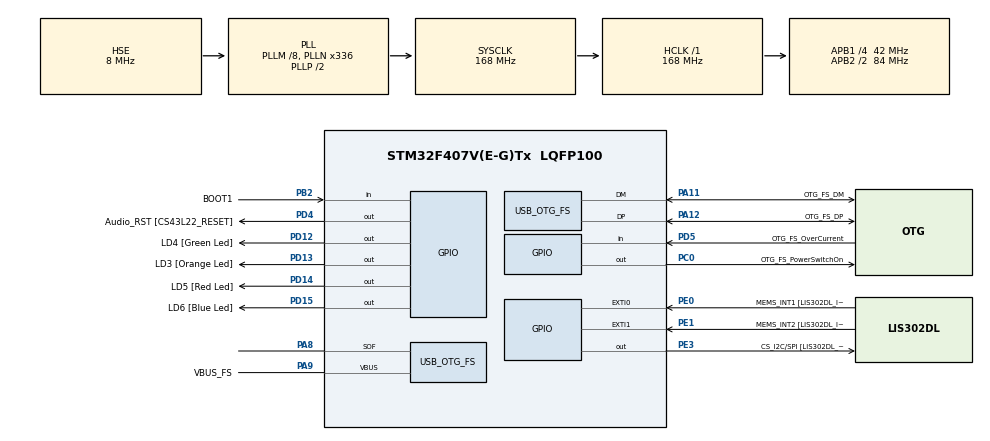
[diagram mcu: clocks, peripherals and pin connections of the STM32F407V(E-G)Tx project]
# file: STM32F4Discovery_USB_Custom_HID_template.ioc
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Mcu.Family=STM32F4
Mcu.Name=STM32F407V(E-G)Tx
Mcu.Package=LQFP100
NVIC.OTG_FS_IRQn=true\:0\:0\:false
NVIC.PriorityGroup=NVIC_PRIORITYGROUP_0
PA10.GPIO_Label=OTG_FS_ID
PA10.GPIO_Mode=GPIO_MODE_AF_PP
PA10.GPIO_PuPd=GPIO_NOPULL
PA10.GPIO_Speed=GPIO_SPEED_LOW
PA10.Signal=USB_OTG_FS_ID
PA11.GPIO_Label=OTG_FS_DM
PA11.GPIO_Mode=GPIO_MODE_AF_PP
PA11.GPIO_PuPd=GPIO_NOPULL
PA11.GPIO_Speed=GPIO_SPEED_LOW
PA11.Mode=Device_Only
PA11.Signal=USB_OTG_FS_DM
PA12.GPIO_Label=OTG_FS_DP
PA12.GPIO_Mode=GPIO_MODE_AF_PP
PA12.GPIO_PuPd=GPIO_NOPULL
PA12.GPIO_Speed=GPIO_SPEED_LOW
PA12.Mode=Device_Only
PA12.Signal=USB_OTG_FS_DP
PA13.GPIO_Label=SWDIO
PA13.Mode=Trace-Asynchronous_SW
PA13.Signal=SYS_JTMS-SWDIO
PA14.GPIO_Label=SWCLK
PA14.Mode=Trace-Asynchronous_SW
PA14.Signal=SYS_JTCK-SWCLK
PA4.GPIO_Label=I2S3_WS [CS43L22_LRCK]
PA4.GPIO_Mode=GPIO_MODE_AF_PP
PA4.GPIO_PuPd=GPIO_NOPULL
PA4.GPIO_Speed=GPIO_SPEED_LOW
PA4.Signal=I2S3_WS
PA5.GPIO_Label=SPI1_SCK [LIS302DL_SCL/SPC]
PA5.GPIO_Mode=GPIO_MODE_AF_PP
PA5.GPIO_PuPd=GPIO_NOPULL
PA5.GPIO_Speed=GPIO_SPEED_LOW
PA5.Signal=SPI1_SCK
PA6.GPIO_Label=SPI1_MISO [LIS302DL_SDO]
PA6.GPIO_Mode=GPIO_MODE_AF_PP
PA6.GPIO_PuPd=GPIO_NOPULL
PA6.GPIO_Speed=GPIO_SPEED_LOW
PA6.Signal=SPI1_MISO
PA7.GPIO_Label=SPI1_MOSI [LIS302DL_SDA/SDI/SDO]
PA7.GPIO_Mode=GPIO_MODE_AF_PP
PA7.GPIO_PuPd=GPIO_NOPULL
PA7.GPIO_Speed=GPIO_SPEED_LOW
PA7.Signal=SPI1_MOSI
PA8.Mode=Activate_SOF_FS
PA8.Signal=USB_OTG_FS_SOF
PA9.GPIO_Label=VBUS_FS
PA9.GPIO_Mode=GPIO_MODE_INPUT
PA9.GPIO_PuPd=GPIO_NOPULL
PA9.Mode=Activate_VBUS
PA9.Signal=USB_OTG_FS_VBUS
PB10.GPIO_Label=CLK_IN [MP45DT02_CLK]
PB10.GPIO_Mode=GPIO_MODE_AF_PP
PB10.GPIO_PuPd=GPIO_NOPULL
PB10.GPIO_Speed=GPIO_SPEED_LOW
PB10.Signal=I2S2_CK
PB2.GPIO_Label=BOOT1
PB2.GPIO_Mode=GPIO_MODE_INPUT
PB2.GPIO_PuPd=GPIO_NOPULL
PB2.Signal=GPIO_Input
PB3.GPIO_Label=SWO
PB3.Mode=Trace-Asynchronous_SW
PB3.Signal=SYS_JTDO-SWO
PB6.GPIO_Label=Audio_SCL [CS43L22_SCL]
PB6.GPIO_Mode=GPIO_MODE_AF_OD
PB6.GPIO_PuPd=GPIO_NOPULL
PB6.GPIO_Speed=GPIO_SPEED_LOW
PB6.Signal=I2C1_SCL
PB9.GPIO_Label=Audio_SDA [CS43L22_SDA]
PB9.GPIO_Mode=GPIO_MODE_AF_OD
PB9.GPIO_PuPd=GPIO_NOPULL
PB9.GPIO_Speed=GPIO_SPEED_LOW
PB9.Signal=I2C1_SDA
PC0.GPIO_Label=OTG_FS_PowerSwitchOn
PC0.GPIO_PuPd=GPIO_NOPULL
PC0.GPIO_Speed=GPIO_SPEED_LOW
PC0.Signal=GPIO_Output
PC10.GPIO_Label=I2S3_SCK [CS43L22_SCLK]
PC10.GPIO_Mode=GPIO_MODE_AF_PP
PC10.GPIO_PuPd=GPIO_NOPULL
PC10.GPIO_Speed=GPIO_SPEED_LOW
PC10.Signal=I2S3_CK
PC12.GPIO_Label=I2S3_SD [CS43L22_SDIN]
PC12.GPIO_Mode=GPIO_MODE_AF_PP
PC12.GPIO_PuPd=GPIO_NOPULL
PC12.GPIO_Speed=GPIO_SPEED_LOW
PC12.Signal=I2S3_SD
PC14-OSC32_IN.GPIO_Label=PC14-OSC32_IN
PC14-OSC32_IN.Signal=RCC_OSC32_IN
PC15-OSC32_OUT.GPIO_Label=PC15-OSC32_OUT
PC15-OSC32_OUT.Signal=RCC_OSC32_OUT
PC3.GPIO_Label=PDM_OUT [MP45DT02_DOUT]
PC3.GPIO_Mode=GPIO_MODE_AF_PP
PC3.GPIO_PuPd=GPIO_NOPULL
PC3.GPIO_Speed=GPIO_SPEED_LOW
PC3.Signal=I2S2_SD
PC7.GPIO_Label=I2S3_MCK [CS43L22_MCLK]
PC7.GPIO_Mode=GPIO_MODE_AF_PP
PC7.GPIO_PuPd=GPIO_NOPULL
PC7.GPIO_Speed=GPIO_SPEED_LOW
PC7.Signal=I2S3_MCK
PD12.GPIO_Label=LD4 [Green Led]
PD12.GPIO_PuPd=GPIO_NOPULL
PD12.GPIO_Speed=GPIO_SPEED_LOW
PD12.Signal=GPIO_Output
PD13.GPIO_Label=LD3 [Orange Led]
PD13.GPIO_PuPd=GPIO_NOPULL
PD13.GPIO_Speed=GPIO_SPEED_LOW
PD13.Signal=GPIO_Output
PD14.GPIO_Label=LD5 [Red Led]
PD14.GPIO_PuPd=GPIO_NOPULL
PD14.GPIO_Speed=GPIO_SPEED_LOW
PD14.Signal=GPIO_Output
PD15.GPIO_Label=LD6 [Blue Led]
PD15.GPIO_PuPd=GPIO_NOPULL
PD15.GPIO_Speed=GPIO_SPEED_LOW
PD15.Signal=GPIO_Output
PD4.GPIO_Label=Audio_RST [CS43L22_RESET]
PD4.GPIO_PuPd=GPIO_NOPULL
PD4.GPIO_Speed=GPIO_SPEED_LOW
PD4.Signal=GPIO_Output
PD5.GPIO_Label=OTG_FS_OverCurrent
PD5.GPIO_Mode=GPIO_MODE_INPUT
PD5.GPIO_PuPd=GPIO_NOPULL
PD5.Signal=GPIO_Input
PE0.GPIO_Label=MEMS_INT1 [LIS302DL_INT1]
PE0.Signal=GPXTI0
PE1.GPIO_Label=MEMS_INT2 [LIS302DL_INT2]
PE1.GPIO_ModeDefaultEXTI=GPIO_MODE_EVT_RISING
PE1.GPIO_PuPd=GPIO_NOPULL
PE1.Signal=GPXTI1
PE3.GPIO_Label=CS_I2C/SPI [LIS302DL_CS_I2C/SPI]
PE3.GPIO_PuPd=GPIO_NOPULL
PE3.GPIO_Speed=GPIO_SPEED_LOW
PE3.Signal=GPIO_Output
PH0-OSC_IN.GPIO_Label=PH0-OSC_IN
PH0-OSC_IN.Mode=HSE-External-Oscillator
PH0-OSC_IN.Signal=RCC_OSC_IN
PH1-OSC_OUT.GPIO_Label=PH1-OSC_OUT
PH1-OSC_OUT.Mode=HSE-External-Oscillator
PH1-OSC_OUT.Signal=RCC_OSC_OUT
ProjectManager.HeapSize=0x400
ProjectManager.StackSize=0x200
ProjectManager.TargetToolchain=SW4STM32
RCC.AHBFreq_Value=168000000
RCC.APB1CLKDivider=RCC_HCLK_DIV4
RCC.APB1Freq_Value=42000000
RCC.APB1TimFreq_Value=84000000
RCC.APB2CLKDivider=RCC_HCLK_DIV2
RCC.APB2Freq_Value=84000000
RCC.APB2TimFreq_Value=168000000
RCC.CortexFreq_Value=168000000
RCC.HCLKFreq_Value=168000000
RCC.HSE_VALUE=8000000
RCC.HSI_VALUE=16000000
RCC.LSE_VALUE=32768
RCC.PLLM=8
RCC.PLLN=336
RCC.PLLQ=7
RCC.SYSCLKFreq_VALUE=168000000
RCC.SYSCLKSource=RCC_SYSCLKSOURCE_PLLCLK
RCC.VCOOutputFreq_Value=336000000
USB_DEVICE.CLASS_NAME-CUSTOM_HID_FS=CUSTOMHID
USB_DEVICE.USBD_CUSTOMHID_OUTREPORT_BUF_SIZE-CUSTOM_HID_FS=16
USB_DEVICE.USBD_CUSTOM_HID_REPORT_DESC_SIZE-CUSTOM_HID_FS=16
USB_DEVICE.USBD_HandleTypeDef-CUSTOM_HID_FS=hUsbDeviceFS
USB_DEVICE.VirtualMode-CUSTOM_HID_FS=CustomHid
USB_DEVICE.VirtualModeFS=Custom_Hid_FS
USB_OTG_FS.VirtualMode=Device_Only
VP_USB_DEVICE_VS_USB_DEVICE_CUSTOM_HID_FS.Mode=CUSTOM_HID_FS
board=STM32F407G-DISC1

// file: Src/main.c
/**
  ******************************************************************************
  * File Name          : main.c
  * Description        : Main program body
  ******************************************************************************
  *
  * COPYRIGHT(c) 2016 STMicroelectronics
  *
  * Redistribution and use in source and binary forms, with or without modification,
  * are permitted provided that the following conditions are met:
  *   1. Redistributions of source code must retain the above copyright notice,
  *      this list of conditions and the following disclaimer.
  *   2. Redistributions in binary form must reproduce the above copyright notice,
  *      this list of conditions and the following disclaimer in the documentation
  *      and/or other materials provided with the distribution.
  *   3. Neither the name of STMicroelectronics nor the names of its contributors
  *      may be used to endorse or promote products derived from this software
  *      without specific prior written permission.
  *
  * THIS SOFTWARE IS PROVIDED BY THE COPYRIGHT HOLDERS AND CONTRIBUTORS "AS IS"
  * AND ANY EXPRESS OR IMPLIED WARRANTIES, INCLUDING, BUT NOT LIMITED TO, THE
  * IMPLIED WARRANTIES OF MERCHANTABILITY AND FITNESS FOR A PARTICULAR PURPOSE ARE
  * DISCLAIMED. IN NO EVENT SHALL THE COPYRIGHT HOLDER OR CONTRIBUTORS BE LIABLE
  * FOR ANY DIRECT, INDIRECT, INCIDENTAL, SPECIAL, EXEMPLARY, OR CONSEQUENTIAL
  * DAMAGES (INCLUDING, BUT NOT LIMITED TO, PROCUREMENT OF SUBSTITUTE GOODS OR
  * SERVICES; LOSS OF USE, DATA, OR PROFITS; OR BUSINESS INTERRUPTION) HOWEVER
  * CAUSED AND ON ANY THEORY OF LIABILITY, WHETHER IN CONTRACT, STRICT LIABILITY,
  * OR TORT (INCLUDING NEGLIGENCE OR OTHERWISE) ARISING IN ANY WAY OUT OF THE USE
  * OF THIS SOFTWARE, EVEN IF ADVISED OF THE POSSIBILITY OF SUCH DAMAGE.
  *
  ******************************************************************************
  */
#include "stm32f4xx_hal.h"
#include "usb_device.h"
#include "gpio.h"

/* USER CODE BEGIN Includes */
#include "usbd_custom_hid_if.h"
/* USER CODE END Includes */

/* USER CODE BEGIN PV */
/* Private variables ---------------------------------------------------------*/

/* USER CODE END PV */

void SystemClock_Config(void);

/* USER CODE BEGIN PFP */
/* Private function prototypes -----------------------------------------------*/

/* USER CODE END PFP */

int main(void)
{

  /* MCU Configuration----------------------------------------------------------*/

  /* Reset of all peripherals, Initializes the Flash interface and the Systick. */
  HAL_Init();

  /* Configure the system clock */
  SystemClock_Config();

  /* Initialize all configured peripherals */
  MX_GPIO_Init();
  MX_USB_DEVICE_Init();

  /* USER CODE BEGIN 2 */
  uint8_t Buffer[USBD_CUSTOMHID_OUTREPORT_BUF_SIZE+1];
  const uint8_t delay = 100;
  /* USER CODE END 2 */

  /* Infinite loop */
  /* USER CODE BEGIN WHILE */
  while (1)
  {
    GPIO_PinState LED3_state;
    GPIO_PinState LED4_state;
    GPIO_PinState LED5_state;
    GPIO_PinState LED6_state;

    LED3_state = HAL_GPIO_ReadPin(LD3_GPIO_Port, LD3_Pin);
    LED4_state = HAL_GPIO_ReadPin(LD4_GPIO_Port, LD4_Pin);
    LED5_state = HAL_GPIO_ReadPin(LD5_GPIO_Port, LD5_Pin);
    LED6_state = HAL_GPIO_ReadPin(LD6_GPIO_Port, LD6_Pin);

    Buffer[0] = 4;
    Buffer[1] = LED3_state;
    Buffer[2] = LED4_state;
    Buffer[3] = LED5_state;
    Buffer[4] = LED6_state;

    HAL_Delay(delay);
    HAL_GPIO_TogglePin(LD3_GPIO_Port, LD3_Pin);

    HAL_Delay(delay);
    HAL_GPIO_TogglePin(LD4_GPIO_Port, LD4_Pin);

    HAL_Delay(delay);
    HAL_GPIO_TogglePin(LD5_GPIO_Port, LD5_Pin);

    HAL_Delay(delay);
    HAL_GPIO_TogglePin(LD6_GPIO_Port, LD6_Pin);

    USBD_CUSTOM_HID_SendReport(&hUsbDeviceFS, Buffer, 5);

  /* USER CODE END WHILE */

  }

}

/** System Clock Configuration
*/
void SystemClock_Config(void)
{

  RCC_OscInitTypeDef RCC_OscInitStruct;
  RCC_ClkInitTypeDef RCC_ClkInitStruct;

  __PWR_CLK_ENABLE();

  __HAL_PWR_VOLTAGESCALING_CONFIG(PWR_REGULATOR_VOLTAGE_SCALE1);

  RCC_OscInitStruct.OscillatorType = RCC_OSCILLATORTYPE_HSE;
  RCC_OscInitStruct.HSEState = RCC_HSE_ON;
  RCC_OscInitStruct.PLL.PLLState = RCC_PLL_ON;
  RCC_OscInitStruct.PLL.PLLSource = RCC_PLLSOURCE_HSE;
  RCC_OscInitStruct.PLL.PLLM = 8;
  RCC_OscInitStruct.PLL.PLLN = 336;
  RCC_OscInitStruct.PLL.PLLP = RCC_PLLP_DIV2;
  RCC_OscInitStruct.PLL.PLLQ = 7;
  HAL_RCC_OscConfig(&RCC_OscInitStruct);

  RCC_ClkInitStruct.ClockType = RCC_CLOCKTYPE_SYSCLK|RCC_CLOCKTYPE_PCLK1
                              |RCC_CLOCKTYPE_PCLK2;
  RCC_ClkInitStruct.SYSCLKSource = RCC_SYSCLKSOURCE_PLLCLK;
  RCC_ClkInitStruct.AHBCLKDivider = RCC_SYSCLK_DIV1;
  RCC_ClkInitStruct.APB1CLKDivider = RCC_HCLK_DIV4;
  RCC_ClkInitStruct.APB2CLKDivider = RCC_HCLK_DIV2;
  HAL_RCC_ClockConfig(&RCC_ClkInitStruct, FLASH_LATENCY_5);

  HAL_SYSTICK_Config(HAL_RCC_GetHCLKFreq()/1000);

  HAL_SYSTICK_CLKSourceConfig(SYSTICK_CLKSOURCE_HCLK);

  /* SysTick_IRQn interrupt configuration */
  HAL_NVIC_SetPriority(SysTick_IRQn, 0, 0);
}

/************************ (C) COPYRIGHT STMicroelectronics *****END OF FILE****/
